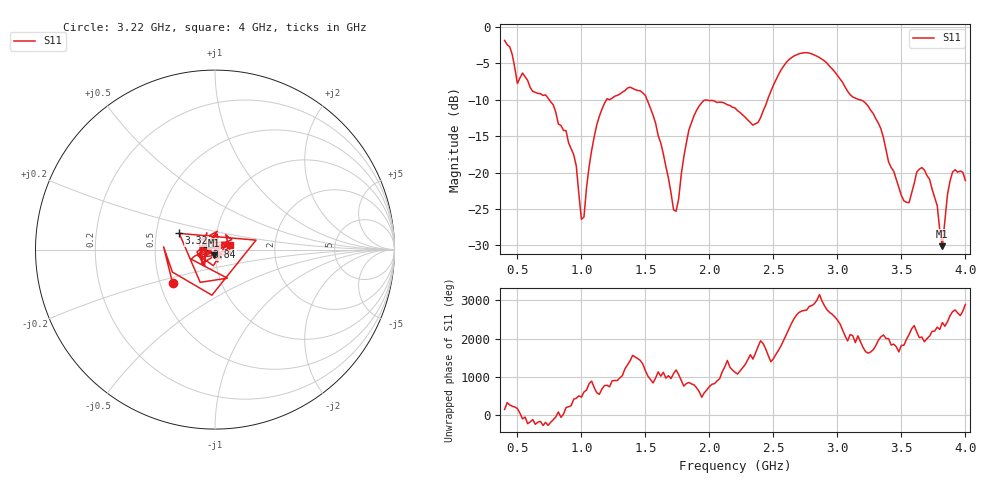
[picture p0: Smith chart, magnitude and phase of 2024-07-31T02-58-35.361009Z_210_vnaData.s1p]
!Created with skrf (http://scikit-rf.org).
# Hz S RI R 50.0
!freq ReS11 ImS11
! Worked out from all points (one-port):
!   181 points, 400 MHz to 4 GHz, reference 50 ohm
!   lowest |S11| = -30.1 dB at 3.82 GHz (marker M1), VSWR 1.06, Z = 49.4 - j3.05 ohm
!   |S11| at or under -10 dB: 749.4 MHz to 1.195 GHz (445.8 MHz wide, 45.9 % of centre); 1.514 GHz to 2.454 GHz (940.6 MHz wide, 47.4 % of centre); 3.178 GHz to end of sweep
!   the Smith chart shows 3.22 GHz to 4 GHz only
!   S11 on the Smith chart (normalised r, x): 3.22 GHz: 0.58, -0.24; 3.32 GHz: 0.66, +0.12; 3.84 GHz: 0.91, +0.02; 4 GHz: 1.18, +0.06
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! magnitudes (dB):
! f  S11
! 400 MHz  -1.8
! 500 MHz  -7.8
! 720 MHz  -9.3
! 860 MHz  -14.2
! 960 MHz  -19.1
! 1 GHz  -26.4
! 1.14 GHz  -12.3
! 1.3 GHz  -9.2
! 1.5 GHz  -9.4
! 1.62 GHz  -15.9
! 1.72 GHz  -25.1
! 1.76 GHz  -23.6
! 1.84 GHz  -14.1
! 1.92 GHz  -10.8
! 2.2 GHz  -11.1
! 2.38 GHz  -13.1
! 2.66 GHz  -4.0
! 2.9 GHz  -4.7
! 3.1 GHz  -9.3
! 3.22 GHz  -10.4
! 3.32 GHz  -13.2
! 3.56 GHz  -24.1
! 3.68 GHz  -19.6
! 3.78 GHz  -24.5
! 3.82 GHz  -30.1
! 3.84 GHz  -26.5
! 3.9 GHz  -19.9
! 4 GHz  -21.1
